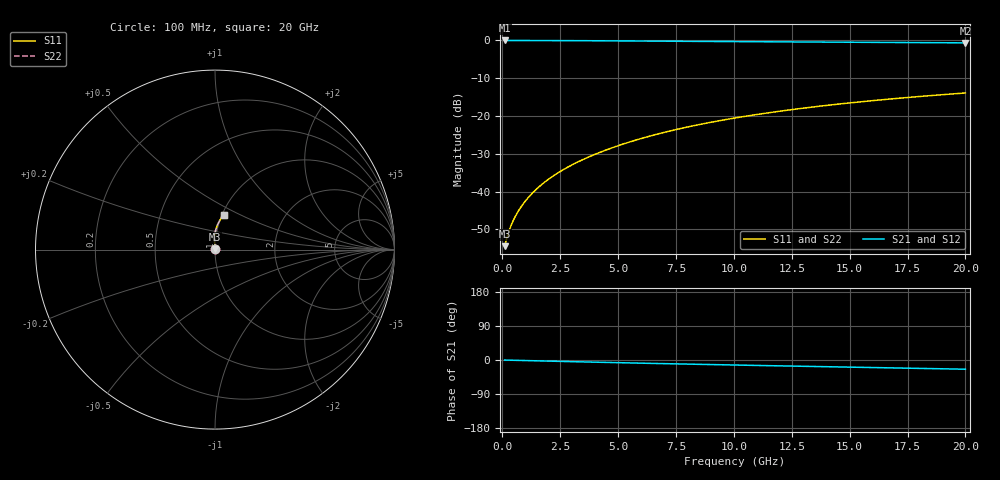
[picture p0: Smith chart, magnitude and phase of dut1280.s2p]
! Touchstone file exported from HFSS 2024.1.0
!  File:  C:/UserFiles/LocalFiles/RDL_TSV_Batchsim/temp_RDL_top_1280_1780242542.aedt
!  Generated:  11:50:39 PM May 31, 2026
!  Design:  RDL_top
!  Project:  temp_RDL_top_1280_1780242542
!  Setup:  Setup1
!  Solution:  Sweep
! Variables:
!  dtsv = 10.80580581um
!  hbump = 3um
!  htsv = 61.74um
!  ldown = 100um
!  lrdl = 358.9um
!  p = 40
!  p1 = 46.43um
!  rhole = 1um
!  t = 450um
!  tdown = 3.915915916um
!  trdl = 3.27um
!  wdown = 15.38538539um
!  wrdl = 27.44um
# GHz S MA R 50.000000
! Terminal data exported
! Port[1] = Box2_T1
! Port[2] = Box2_T2
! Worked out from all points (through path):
!   200 points, 100 MHz to 20 GHz, reference 50 ohm
!   highest |S21| = -0.01 dB at 100 MHz (marker M1); lowest = -0.6 dB at 20 GHz (marker M2)
!   group delay of S21, straight-line fit = 3.32 ps
!   lowest |S11| = -54.4 dB at 100 MHz (marker M3), VSWR 1.00, Z = 50.2 + j0.0884 ohm
!   |S11| at or under -10 dB: start of sweep to end of sweep
!   |S22| runs from -54.4 to -13.9 dB; largest |S21 - S12| = 3.6e-15
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0.1  0.0019 27.6  0.9983 -0.2  0.9983 -0.2  0.0019 27.6
! Gamma 0 0 0 0
! Port Impedance 50 0 50 0
0.2  0.002466 43.4  0.9982 -0.3  0.9982 -0.3  0.002466 43.4
0.3  0.003087 52.1  0.998 -0.5  0.998 -0.5  0.003087 52.1
0.4  0.003705 57.9  0.9979 -0.6  0.9979 -0.6  0.003705 57.9
0.5  0.004322 62.3  0.9977 -0.8  0.9977 -0.8  0.004322 62.3
0.8  0.006216 71.3  0.9974 -1.2  0.9974 -1.2  0.006216 71.3
1  0.007531 75.2  0.9971 -1.5  0.9971 -1.5  0.007531 75.2
1.2  0.008885 78.2  0.9968 -1.8  0.9968 -1.8  0.008885 78.2
1.7  0.01241 83.4  0.9959 -2.5  0.9959 -2.5  0.01242 83.4
2.2  0.01614 86.7  0.9948 -3.2  0.9948 -3.2  0.01614 86.7
2.8  0.02086 89.4  0.9931 -4.1  0.9931 -4.1  0.02086 89.4
3.5  0.02671 91.4  0.9909 -5.1  0.9909 -5.1  0.02671 91.4
4.2  0.03294 92.7  0.9883 -6.0  0.9883 -6.0  0.03294 92.7
5  0.04047 93.4  0.9851 -7.1  0.9851 -7.1  0.04048 93.4
5.9  0.04941 93.5  0.9813 -8.3  0.9813 -8.3  0.04941 93.5
6.8  0.05874 93.2  0.9775 -9.4  0.9775 -9.4  0.05874 93.2
8.4  0.07598 91.8  0.9707 -11.3  0.9707 -11.3  0.07599 91.8
10.1  0.0948 89.7  0.9637 -13.3  0.9637 -13.3  0.09481 89.8
11.7  0.1126 87.5  0.9575 -15.2  0.9575 -15.2  0.1127 87.5
13.4  0.1315 85.1  0.9512 -17.1  0.9512 -17.1  0.1315 85.1
16.7  0.1673 80.3  0.9395 -20.7  0.9395 -20.7  0.1674 80.3
20  0.2017 75.7  0.9281 -24.3  0.9281 -24.3  0.2017 75.8
